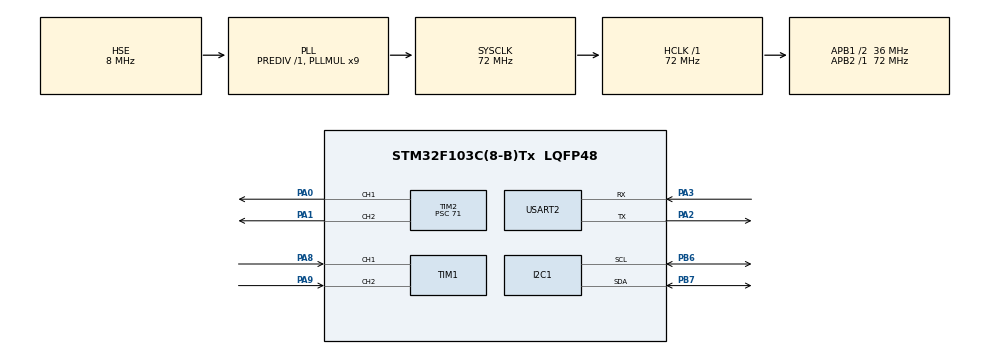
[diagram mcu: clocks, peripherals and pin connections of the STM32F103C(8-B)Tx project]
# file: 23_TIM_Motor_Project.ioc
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I2C1.I2C_Mode=I2C_Fast
Mcu.Family=STM32F1
Mcu.Name=STM32F103C(8-B)Tx
Mcu.Package=LQFP48
NVIC.PriorityGroup=NVIC_PRIORITYGROUP_4
NVIC.USART2_IRQn=true\:0\:0\:false\:false\:true\:true\:true\:true
PA0-WKUP.Signal=S_TIM2_CH1_ETR
PA1.Signal=S_TIM2_CH2
PA13.Mode=Serial_Wire
PA13.Signal=SYS_JTMS-SWDIO
PA14.Mode=Serial_Wire
PA14.Signal=SYS_JTCK-SWCLK
PA2.Mode=Asynchronous
PA2.Signal=USART2_TX
PA3.Mode=Asynchronous
PA3.Signal=USART2_RX
PA8.Signal=S_TIM1_CH1
PA9.Signal=S_TIM1_CH2
PB6.Mode=I2C
PB6.Signal=I2C1_SCL
PB7.Mode=I2C
PB7.Signal=I2C1_SDA
PD0-OSC_IN.Mode=HSE-External-Oscillator
PD0-OSC_IN.Signal=RCC_OSC_IN
PD1-OSC_OUT.Mode=HSE-External-Oscillator
PD1-OSC_OUT.Signal=RCC_OSC_OUT
ProjectManager.HeapSize=0x200
ProjectManager.StackSize=0x400
ProjectManager.TargetToolchain=CMake
RCC.AHBFreq_Value=72000000
RCC.APB1CLKDivider=RCC_HCLK_DIV2
RCC.APB1Freq_Value=36000000
RCC.APB1TimFreq_Value=72000000
RCC.APB2Freq_Value=72000000
RCC.APB2TimFreq_Value=72000000
RCC.HCLKFreq_Value=72000000
RCC.PLLMUL=RCC_PLL_MUL9
RCC.PLLSourceVirtual=RCC_PLLSOURCE_HSE
RCC.SYSCLKFreq_VALUE=72000000
RCC.SYSCLKSource=RCC_SYSCLKSOURCE_PLLCLK
RCC.USBFreq_Value=72000000
SH.S_TIM1_CH1.0=TIM1_CH1,Encoder_Interface
SH.S_TIM1_CH2.0=TIM1_CH2,Encoder_Interface
SH.S_TIM2_CH1_ETR.0=TIM2_CH1,PWM Generation1 CH1
SH.S_TIM2_CH2.0=TIM2_CH2,PWM Generation2 CH2
TIM1.IC2Polarity=TIM_ICPOLARITY_FALLING
TIM2.Channel-PWM\ Generation1\ CH1=TIM_CHANNEL_1
TIM2.Channel-PWM\ Generation2\ CH2=TIM_CHANNEL_2
TIM2.Period=99
TIM2.Prescaler=71
USART2.VirtualMode=VM_ASYNC
VP_TIM2_VS_ClockSourceINT.Mode=Internal
board=custom

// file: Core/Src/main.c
/* USER CODE BEGIN Header */
/**
  ******************************************************************************
  * @file           : main.c
  * @brief          : Main program body
  ******************************************************************************
  * @attention
  *
  * Copyright (c) 2026 STMicroelectronics.
  * All rights reserved.
  *
  * This software is licensed under terms that can be found in the LICENSE file
  * in the root directory of this software component.
  * If no LICENSE file comes with this software, it is provided AS-IS.
  *
  ******************************************************************************
  */
/* USER CODE END Header */
#include "main.h"
#include "i2c.h"
#include "stm32f1xx_hal_uart.h"
#include "tim.h"
#include "usart.h"
#include "gpio.h"

/* USER CODE BEGIN Includes */
#include <stdint.h>
#include <string.h>
#include "drv8833.h"
#include "font.h"
#include <stdio.h>
#include "oled.h"
/* USER CODE END Includes */

/* USER CODE BEGIN PD */

#define COUNT_MID 20

/* USER CODE END PD */

/* USER CODE BEGIN PV */

  int count = 0;
  int speed = 0;
  int displaySpeed = 1;
  char message[20]="";

  uint8_t rxBuffer; // 接收缓冲区

/* USER CODE END PV */

void SystemClock_Config(void);

/* USER CODE BEGIN 0 */

void HAL_UART_RxCpltCallback(UART_HandleTypeDef *huart)
{
    if (huart==&huart2) // 检查是否是 USART2
    {
        // 处理接收到的数据
        // 这里可以根据需要处理 rxBuffer 中的数据
        // 例如，将其存储到一个队列中，或者直接处理
      if(rxBuffer == '1')
      {

        __HAL_TIM_SET_COUNTER(&htim1, 16);
      }
      else if(rxBuffer == '2')
      {
        __HAL_TIM_SET_COUNTER(&htim1, 12);
      }
      else if(rxBuffer == '3')
      {
        __HAL_TIM_SET_COUNTER(&htim1, 8);
      }
      else if(rxBuffer == '4')
      {
        __HAL_TIM_SET_COUNTER(&htim1, 4);
      }
      else if(rxBuffer == '5')
      {
        __HAL_TIM_SET_COUNTER(&htim1, 0);
      }
      else if(rxBuffer == '0')
      {
        __HAL_TIM_SET_COUNTER(&htim1, 20);
      }

        // 重新启动接收中断，以便接收下一个字节
        HAL_UART_Receive_IT(&huart2, &rxBuffer, 1);
    }
}

/* USER CODE END 0 */

int main(void)
{

  /* MCU Configuration--------------------------------------------------------*/

  /* Reset of all peripherals, Initializes the Flash interface and the Systick. */
  HAL_Init();

  /* Configure the system clock */
  SystemClock_Config();

  /* Initialize all configured peripherals */
  MX_GPIO_Init();
  MX_TIM1_Init();
  MX_TIM2_Init();
  MX_I2C1_Init();
  MX_USART2_UART_Init();
  /* USER CODE BEGIN 2 */

  HAL_Delay(20);
  OLED_Init();

  DRV8833_Init();
  HAL_TIM_Encoder_Start(&htim1, TIM_CHANNEL_ALL);
  __HAL_TIM_SET_COUNTER(&htim1, COUNT_MID);

HAL_UART_Receive_IT(&huart2, &rxBuffer, 1); // 启动 USART2 的接收中断

  /* USER CODE END 2 */

  /* Infinite loop */
  /* USER CODE BEGIN WHILE */
  while (1)
  {

    OLED_NewFrame();// 开启新的一帧显示

    count = (int)__HAL_TIM_GET_COUNTER(&htim1);// 获取编码器计数值

    if(count > 60000)// 编码器计数值溢出，限制在最大位置
    {
      count=COUNT_MID*2;
      __HAL_TIM_SET_COUNTER(&htim1, COUNT_MID*2);
    }
    else if(count < 0)
    {
      // 编码器反向越过 0 时，限制在最小位置
      count=0;
      __HAL_TIM_SET_COUNTER(&htim1, 0);// 将计数器设置为 0
    }
    else if(count>COUNT_MID*2)// 编码器计数值超过最大位置，限制在最大位置
    {
      count=COUNT_MID*2;// 将计数器设置为最大位置
      __HAL_TIM_SET_COUNTER(&htim1, COUNT_MID*2);// 将计数器设置为最大位置
    }
    if(count<COUNT_MID)// 编码器计数值小于中间位置，限制在最小位置
    {
      speed=(COUNT_MID-count)*100/COUNT_MID;
      DRV8833_Backward(speed);
    }
    else
    {
      speed=(count-COUNT_MID)*100/COUNT_MID;
      DRV8833_Forward(speed);
    }

    displaySpeed = speed;
    if (displaySpeed < 1)
    {
      displaySpeed = 0;
    }
    else if (displaySpeed > 100)
    {
      displaySpeed = 100;
    }

    sprintf(message, "speed:%d", displaySpeed);
    OLED_PrintString(13, 0, message, &font16x16, OLED_COLOR_NORMAL);
    OLED_DrawRectangle(13, 25, 101, 12, OLED_COLOR_NORMAL);
    OLED_DrawFilledRectangle(13, 26, displaySpeed, 11, OLED_COLOR_NORMAL);

    OLED_ShowFrame();
    HAL_Delay(100);

    /* USER CODE END WHILE */

  }
}

void SystemClock_Config(void)
{
  RCC_OscInitTypeDef RCC_OscInitStruct = {0};
  RCC_ClkInitTypeDef RCC_ClkInitStruct = {0};

  /** Initializes the RCC Oscillators according to the specified parameters
  * in the RCC_OscInitTypeDef structure.
  */
  RCC_OscInitStruct.OscillatorType = RCC_OSCILLATORTYPE_HSE;
  RCC_OscInitStruct.HSEState = RCC_HSE_ON;
  RCC_OscInitStruct.HSEPredivValue = RCC_HSE_PREDIV_DIV1;
  RCC_OscInitStruct.HSIState = RCC_HSI_ON;
  RCC_OscInitStruct.PLL.PLLState = RCC_PLL_ON;
  RCC_OscInitStruct.PLL.PLLSource = RCC_PLLSOURCE_HSE;
  RCC_OscInitStruct.PLL.PLLMUL = RCC_PLL_MUL9;
  if (HAL_RCC_OscConfig(&RCC_OscInitStruct) != HAL_OK)
  {
    Error_Handler();
  }

  /** Initializes the CPU, AHB and APB buses clocks
  */
  RCC_ClkInitStruct.ClockType = RCC_CLOCKTYPE_HCLK|RCC_CLOCKTYPE_SYSCLK
                              |RCC_CLOCKTYPE_PCLK1|RCC_CLOCKTYPE_PCLK2;
  RCC_ClkInitStruct.SYSCLKSource = RCC_SYSCLKSOURCE_PLLCLK;
  RCC_ClkInitStruct.AHBCLKDivider = RCC_SYSCLK_DIV1;
  RCC_ClkInitStruct.APB1CLKDivider = RCC_HCLK_DIV2;
  RCC_ClkInitStruct.APB2CLKDivider = RCC_HCLK_DIV1;

  if (HAL_RCC_ClockConfig(&RCC_ClkInitStruct, FLASH_LATENCY_2) != HAL_OK)
  {
    Error_Handler();
  }
}

void Error_Handler(void)
{
  __disable_irq();
  while (1)
  {
  }
}
